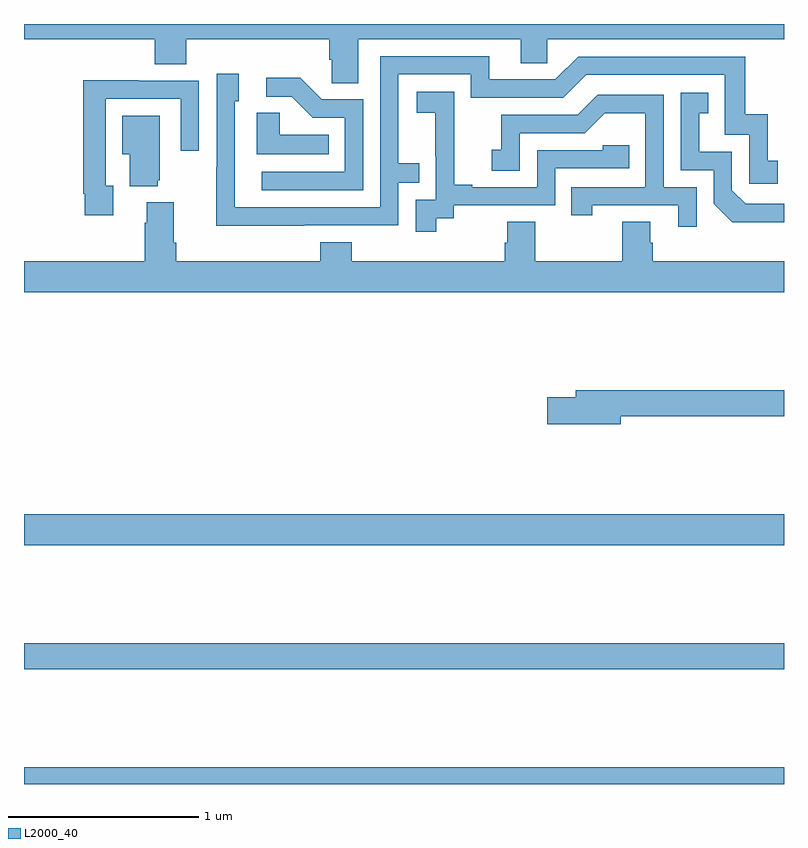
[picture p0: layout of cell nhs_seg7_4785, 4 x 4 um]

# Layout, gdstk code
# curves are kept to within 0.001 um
import gdstk
lib = gdstk.Library(unit=1e-6, precision=1e-09)
def R(c, l, rs):  # rectangles x0, y0, x1, y1
    for r in rs: c.add(gdstk.rectangle(r[:2], r[2:], *l))
def P(c, l, *ps):  # polygons
    for p in ps: c.add(gdstk.Polygon(p, *l))
L2000_40 = (2000, 40)

nhs_seg7_4785 = lib.new_cell('nhs_seg7_4785')
R(nhs_seg7_4785, L2000_40, [(411,1026,415,1026.088), (411,1026.604,415,1026.74), (411,1027.256,415,1027.42)])
P(nhs_seg7_4785, L2000_40, [(412.759,1029.92),(413.615,1029.92),(413.615,1029.793),(413.754,1029.793),(413.754,1029.92),(415,1029.92),(415,1030),(411,1030),(411,1029.92),(411.689,1029.92),(411.689,1029.787),(411.854,1029.787),(411.854,1029.92),(412.607,1029.92),(412.607,1029.811),(412.62,1029.811),(412.62,1029.688),(412.759,1029.688)],
  [(412.475,1028.94),(412.971,1028.94),(412.971,1029.165),(413.081,1029.165),(413.081,1029.266),(412.971,1029.266),(412.971,1029.735),(413.352,1029.735),(413.352,1029.612),(413.838,1029.612),(413.958,1029.732),(414.687,1029.732),(414.687,1029.417),(414.816,1029.417),(414.816,1029.159),(414.967,1029.159),(414.967,1029.279),(414.914,1029.279),(414.914,1029.526),(414.796,1029.526),(414.796,1029.828),(413.916,1029.828),(413.796,1029.708),(413.449,1029.708),(413.449,1029.831),(412.875,1029.831),(412.875,1029.036),(412.11,1029.036),(412.11,1029.594),(412.129,1029.594),(412.129,1029.739),(412.014,1029.739),(412.014,1029.245),(412.012,1029.245),(412.012,1028.939)],
  [(412.785,1029.603),(412.566,1029.603),(412.453,1029.716),(412.275,1029.716),(412.275,1029.618),(412.409,1029.618),(412.52,1029.507),(412.689,1029.507),(412.689,1029.222),(412.251,1029.222),(412.251,1029.126),(412.785,1029.126)],
  [(411.469,1029.15),(411.429,1029.15),(411.429,1029.606),(411.825,1029.606),(411.825,1029.333),(411.921,1029.333),(411.921,1029.702),(411.605,1029.702),(411.605,1029.704),(411.313,1029.704),(411.313,1029.106),(411.321,1029.106),(411.321,1028.994),(411.469,1028.994)],
  [(413.17,1028.977),(413.262,1028.977),(413.262,1029.045),(413.796,1029.045),(413.796,1029.24),(414.185,1029.24),(414.185,1029.363),(414.045,1029.363),(414.045,1029.336),(413.7,1029.336),(413.7,1029.141),(413.359,1029.141),(413.359,1029.154),(413.264,1029.154),(413.264,1029.437),(413.265,1029.437),(413.265,1029.643),(413.067,1029.643),(413.067,1029.533),(413.165,1029.533),(413.165,1029.305),(413.166,1029.305),(413.166,1029.075),(413.061,1029.075),(413.061,1028.907),(413.17,1028.907)],
  [(415,1029.054),(414.798,1029.054),(414.726,1029.126),(414.726,1029.327),(414.553,1029.327),(414.553,1029.531),(414.602,1029.531),(414.602,1029.637),(414.456,1029.637),(414.456,1029.231),(414.63,1029.231),(414.63,1029.054),(414.728,1028.957),(415,1028.957)],
  [(414.54,1029.141),(414.366,1029.141),(414.366,1029.627),(414.02,1029.627),(413.915,1029.522),(413.512,1029.522),(413.512,1029.337),(413.463,1029.337),(413.463,1029.228),(413.61,1029.228),(413.61,1029.426),(413.952,1029.426),(414.056,1029.53),(414.27,1029.53),(414.27,1029.141),(413.881,1029.141),(413.881,1028.994),(413.992,1028.994),(413.992,1029.045),(414.443,1029.045),(414.443,1028.934),(414.54,1028.934)],
  [(412.604,1029.418),(412.347,1029.418),(412.347,1029.533),(412.226,1029.533),(412.226,1029.314),(412.604,1029.314)],
  [(411.704,1029.177),(411.715,1029.177),(411.715,1029.517),(411.518,1029.517),(411.518,1029.314),(411.557,1029.314),(411.557,1029.146),(411.704,1029.146)],
  [(415,1028.752),(414.308,1028.752),(414.308,1028.85),(414.295,1028.85),(414.295,1028.96),(414.148,1028.96),(414.148,1028.752),(413.691,1028.752),(413.691,1028.96),(413.543,1028.96),(413.543,1028.85),(413.531,1028.85),(413.531,1028.752),(412.724,1028.752),(412.724,1028.851),(412.559,1028.851),(412.559,1028.752),(411.8,1028.752),(411.8,1028.848),(411.787,1028.848),(411.787,1029.061),(411.647,1029.061),(411.647,1028.954),(411.635,1028.954),(411.635,1028.752),(411,1028.752),(411,1028.588),(415,1028.588)],
  [(414.142,1027.936),(415,1027.936),(415,1028.072),(413.903,1028.072),(413.903,1028.036),(413.754,1028.036),(413.754,1027.894),(414.142,1027.894)])

lib.write_gds('nhs_seg7_4785.gds')
